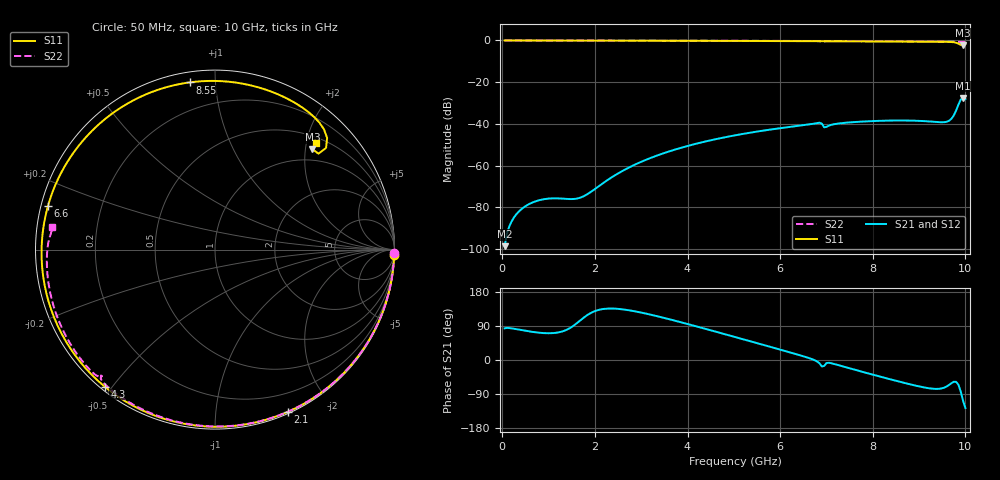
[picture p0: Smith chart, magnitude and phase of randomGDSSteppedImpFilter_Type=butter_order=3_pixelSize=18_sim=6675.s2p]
! freq	dB(S11)	phase(S11)	dB(S12)	phase(S12)
!  dB(S21)	phase(S21)	dB(S22)	phase(S22)
!S-par simulation data
#  GHz  S  DB  R 50
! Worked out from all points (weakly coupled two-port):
!   200 points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, 50 MHz to 10 GHz, reference 50 ohm
!   highest |S21| = -27.56 dB at 9.95 GHz (marker M1); lowest = -98.6 dB at 50 MHz (marker M2)
!   lowest |S11| = -2.2 dB at 9.95 GHz (marker M3), VSWR 8.08, Z = 37.5 + j107 ohm
!   |S11| at or under -10 dB: nowhere
!   |S22| runs from -0.8 to 0.0 dB; largest |S21 - S12| = 0
!   S11 on the Smith chart (normalised r, x): 50 MHz: 2, -68; 2.1 GHz: 0.02, -1.54; 4.3 GHz: 0.01, -0.48; 6.6 GHz: 0.02, +0.13; 8.55 GHz: 0.05, +0.86; 10 GHz: 0.61, +2.18
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0.05  -0.01 -1.7  -98.63 83.5  -98.63 83.5  -0.00 -1.1
0.45  -0.03 -14.5  -80.24 78.2  -80.24 78.2  -0.02 -9.6
0.85  -0.04 -27.3  -76.32 71.4  -76.32 71.4  -0.02 -18.1
1.75  -0.07 -55.3  -74.77 110.9  -74.77 110.9  -0.05 -37.0
2.1  -0.08 -65.9  -69.61 132.8  -69.61 132.8  -0.06 -44.1
2.7  -0.11 -83.6  -61.32 131.9  -61.32 131.9  -0.07 -56.1
3.4  -0.13 -103.7  -54.71 113.9  -54.71 113.9  -0.09 -69.7
4.3  -0.17 -128.9  -48.89 85.1  -48.89 85.1  -0.12 -86.5
5.05  -0.22 -149.7  -45.39 59.9  -45.39 59.9  -0.15 -99.9
5.85  -0.28 -172.4  -42.53 32.6  -42.53 32.6  -0.19 -113.9
6.6  -0.34 165.2  -40.34 6.0  -40.34 6.0  -0.25 -126.8
6.7  -0.35 162.1  -40.00 1.8  -40.00 1.8  -0.26 -128.6
6.85  -0.36 157.4  -39.44 -8.9  -39.44 -8.9  -0.35 -131.5
6.95  -0.37 154.2  -41.64 -15.8  -41.64 -15.8  -0.49 -131.7
8.35  -0.50 106.1  -38.42 -50.0  -38.42 -50.0  -0.39 -156.0
8.55  -0.52 98.6  -38.38 -56.4  -38.38 -56.4  -0.41 -159.4
9.1  -0.57 77.1  -38.66 -72.2  -38.66 -72.2  -0.48 -169.3
9.6  -0.67 55.7  -38.96 -69.6  -38.96 -69.6  -0.58 -179.0
9.75  -0.87 47.8  -35.91 -57.4  -35.91 -57.4  -0.63 177.7
9.9  -2.09 42.8  -28.33 -83.7  -28.33 -83.7  -0.74 174.5
9.95  -2.16 45.9  -27.56 -107.5  -27.56 -107.5  -0.76 173.4
10  -1.75 46.6  -28.14 -126.8  -28.14 -126.8  -0.76 172.2
